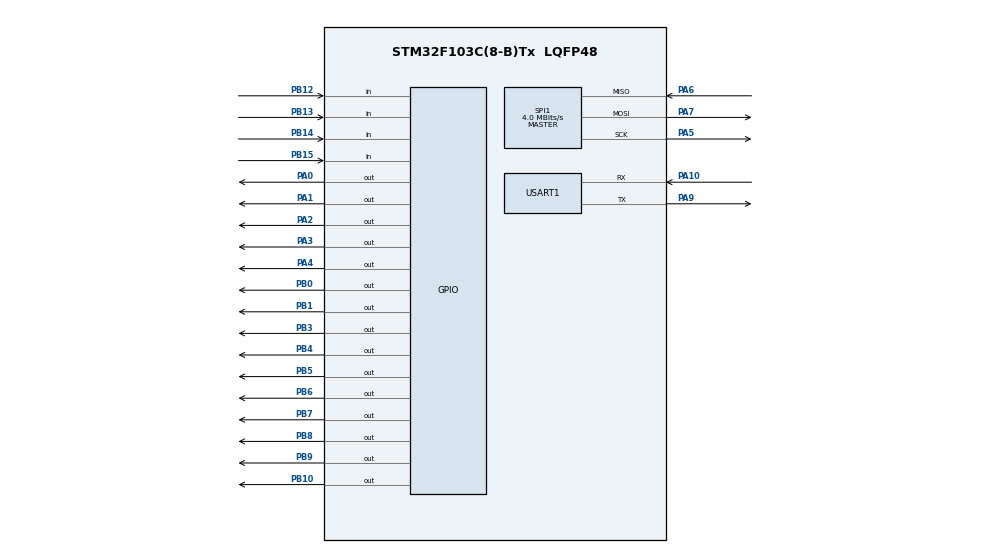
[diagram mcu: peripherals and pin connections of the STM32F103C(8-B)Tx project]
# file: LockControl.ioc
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Mcu.Family=STM32F1
Mcu.Name=STM32F103C(8-B)Tx
Mcu.Package=LQFP48
NVIC.PriorityGroup=NVIC_PRIORITYGROUP_4
PA0-WKUP.Signal=GPIO_Output
PA1.Signal=GPIO_Output
PA10.Mode=Asynchronous
PA10.Signal=USART1_RX
PA13.Mode=Serial_Wire
PA13.Signal=SYS_JTMS-SWDIO
PA14.Mode=Serial_Wire
PA14.Signal=SYS_JTCK-SWCLK
PA2.Signal=GPIO_Output
PA3.Signal=GPIO_Output
PA4.Signal=GPIO_Output
PA5.Mode=Full_Duplex_Master
PA5.Signal=SPI1_SCK
PA6.Mode=Full_Duplex_Master
PA6.Signal=SPI1_MISO
PA7.Mode=Full_Duplex_Master
PA7.Signal=SPI1_MOSI
PA9.Mode=Asynchronous
PA9.Signal=USART1_TX
PB0.Signal=GPIO_Output
PB1.Signal=GPIO_Output
PB10.Signal=GPIO_Output
PB12.GPIO_PuPd=GPIO_PULLUP
PB12.Signal=GPIO_Input
PB13.GPIO_PuPd=GPIO_PULLUP
PB13.Signal=GPIO_Input
PB14.GPIO_PuPd=GPIO_PULLUP
PB14.Signal=GPIO_Input
PB15.GPIO_PuPd=GPIO_PULLUP
PB15.Signal=GPIO_Input
PB3.Signal=GPIO_Output
PB4.Signal=GPIO_Output
PB5.Signal=GPIO_Output
PB6.Signal=GPIO_Output
PB7.Signal=GPIO_Output
PB8.Signal=GPIO_Output
PB9.Signal=GPIO_Output
PD0-OSC_IN.Mode=HSE-External-Oscillator
PD0-OSC_IN.Signal=RCC_OSC_IN
PD1-OSC_OUT.Mode=HSE-External-Oscillator
PD1-OSC_OUT.Signal=RCC_OSC_OUT
ProjectManager.HeapSize=0x200
ProjectManager.StackSize=0x400
ProjectManager.TargetToolchain=MDK-ARM V5.32
RCC.APB1Freq_Value=8000000
RCC.APB2Freq_Value=8000000
RCC.SYSCLKSource=RCC_SYSCLKSOURCE_HSE
SPI1.CalculateBaudRate=4.0 MBits/s
SPI1.Direction=SPI_DIRECTION_2LINES
SPI1.Mode=SPI_MODE_MASTER
SPI1.VirtualType=VM_MASTER
USART1.VirtualMode=VM_ASYNC
board=custom

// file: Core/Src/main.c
/* USER CODE BEGIN Header */
/**
  ******************************************************************************
  * @file           : main.c
  * @brief          : Main program body
  ******************************************************************************
  * @attention
  *
  * Copyright (c) 2024 STMicroelectronics.
  * All rights reserved.
  *
  * This software is licensed under terms that can be found in the LICENSE file
  * in the root directory of this software component.
  * If no LICENSE file comes with this software, it is provided AS-IS.
  *
  ******************************************************************************
  */
/* USER CODE END Header */
#include "main.h"

/* USER CODE BEGIN Includes */
#include "LCD.h"
#include "rc522.h"
#include "string.h"
#include "KeyPad_4x4.h"
#include "stdlib.h"
/* USER CODE END Includes */

/* USER CODE BEGIN PD */
/* Define port */
#define DOOR_PORT		GPIOB
#define BUZZER_PORT	GPIOB
/* Define pin */
#define DOOR_PIN		GPIO_PIN_1
#define BUZZER_PIN	GPIO_PIN_3
/* USER CODE END PD */

SPI_HandleTypeDef hspi1;

UART_HandleTypeDef huart1;

void SystemClock_Config(void);
static void MX_GPIO_Init(void);
static void MX_SPI1_Init(void);
static void MX_USART1_UART_Init(void);

/* USER CODE BEGIN 0 */
uint8_t state_system = 0;
char password_chr[20] = "12345678";
uint8_t password_int = 0;
uint8_t password;

LCD1602_4bit_t LCD1;

uint8_t status;
uint8_t str[MAX_LEN]; // Max_LEN = 16

KeyPad_4x4_t keypad;
uint8_t count;
/* USER CODE END 0 */

int main(void)
{

  /* MCU Configuration--------------------------------------------------------*/

  /* Reset of all peripherals, Initializes the Flash interface and the Systick. */
  HAL_Init();

  /* Configure the system clock */
  SystemClock_Config();

  /* Initialize all configured peripherals */
  MX_GPIO_Init();
  MX_SPI1_Init();
  MX_USART1_UART_Init();
  /* USER CODE BEGIN 2 */
	HAL_GPIO_WritePin(DOOR_PORT, DOOR_PIN, GPIO_PIN_SET);

	MFRC522_Init();

	LCD1.initLCD = LCD_init();
	LCD1.gotoXY = LCD_Goto_XY(0,0);

	int temp = atoi(password_chr);
	for(uint8_t i = 0; i < strlen(password_chr); i++)
	{
		password_int = password_int + temp % 10;
		temp = temp / 10;
	}

  /* USER CODE END 2 */

  /* Infinite loop */
  while (1)
  {

    /* USER CODE BEGIN 3 */

		switch (state_system)
		{
			// Wait to read card
			case 0:
				LCD1.gotoXY = LCD_Goto_XY(0,0);
				LCD1.print = LCD_print((uint8_t*)"Pass your card!");
				status = MFRC522_Request(PICC_REQIDL, str);
				status = MFRC522_Anticoll(str);

				// If card isn't read, wait until it is read
				if(((str[0]==0x70) || (str[0]==0x26) || (str[0]==0x93) || (str[0]==0xB3) || (str[0]==0x03)) && (str[1]==0x20) && (str[2]==0x00) && (str[3]==0x00) && (str[4]==0x00))
				{
					state_system = 0;
				}
				// If read and correct, change to state system 1
				else if((str[0]==0x70) && (str[1]==0xB1) && (str[2]==0x1A) && (str[3]==0x53) && (str[4]==0x88))
				{
					state_system = 1;
					HAL_GPIO_WritePin(BUZZER_PORT, BUZZER_PIN, 1);
					HAL_Delay(25);
					HAL_GPIO_WritePin(BUZZER_PORT, BUZZER_PIN, 0);
				}
				// If read and wrong, change to state system 2
				else
				{
					state_system = 2;
					HAL_GPIO_WritePin(BUZZER_PORT, BUZZER_PIN, 1);
					HAL_Delay(25);
					HAL_GPIO_WritePin(BUZZER_PORT, BUZZER_PIN, 0);
				}

				break;

			// State system 1: Read password
			case 1:
				LCD1.clear = LCD_Clear();
				LCD1.gotoXY = LCD_Goto_XY(0,0);
				LCD1.print = LCD_print((uint8_t*)"Enter password.");

				// Enter password
				count = 0;
				password = 0;
				LCD1.gotoXY = LCD_Goto_XY(count,1);
				while(count < strlen(password_chr))
				{
					keypad.button = readButton();

					if(keypad.button != 16)
					{
						password = password + keypad.button;
						LCD1.print = LCD_print((uint8_t*)"*");
						count++;
						LCD1.gotoXY = LCD_Goto_XY(count,1);
					}
					HAL_Delay(200);
				}

				// Check whether is password corrected
				// If correct, change to state system 3
				if(password == password_int)
				{
					state_system = 3;
					HAL_GPIO_WritePin(BUZZER_PORT, BUZZER_PIN, 1);
					HAL_Delay(25);
					HAL_GPIO_WritePin(BUZZER_PORT, BUZZER_PIN, 0);
				}
				// If wrong, change to state system 4
				else
				{
					state_system = 4;
					HAL_GPIO_WritePin(BUZZER_PORT, BUZZER_PIN, 1);
					HAL_Delay(25);
					HAL_GPIO_WritePin(BUZZER_PORT, BUZZER_PIN, 0);
				}
				break;

			case 2:
				LCD1.clear = LCD_Clear();
				LCD1.gotoXY = LCD_Goto_XY(0,0);
				LCD1.print = LCD_print((uint8_t*)"Wrong card!");
				str[0] = 0x70;
				str[1] = 0x20;
				str[2] = 0x00;
				str[3] = 0x00;
				str[4] = 0x00;
				HAL_Delay(2000);
				state_system = 0;
				break;

			// Pass 2 step (state system 0 & 1) and open the door
			case 3:
				LCD1.clear = LCD_Clear();
				LCD1.gotoXY = LCD_Goto_XY(0,0);
				LCD1.print = LCD_print((uint8_t*)"Hello Nhan!");
				HAL_GPIO_WritePin(DOOR_PORT, DOOR_PIN, GPIO_PIN_RESET);
				state_system = 0;
				HAL_Delay(5000);
				HAL_GPIO_WritePin(DOOR_PORT, DOOR_PIN, GPIO_PIN_SET);
				break;

			case 4:
				LCD1.clear = LCD_Clear();
				LCD1.gotoXY = LCD_Goto_XY(0,0);
				LCD1.print = LCD_print((uint8_t*)"Wrong password!");
				state_system = 1;
				HAL_Delay(2000);
				break;
		}
  }
  /* USER CODE END 3 */
}

void SystemClock_Config(void)
{
  RCC_OscInitTypeDef RCC_OscInitStruct = {0};
  RCC_ClkInitTypeDef RCC_ClkInitStruct = {0};

  /** Initializes the RCC Oscillators according to the specified parameters
  * in the RCC_OscInitTypeDef structure.
  */
  RCC_OscInitStruct.OscillatorType = RCC_OSCILLATORTYPE_HSE;
  RCC_OscInitStruct.HSEState = RCC_HSE_ON;
  RCC_OscInitStruct.PLL.PLLState = RCC_PLL_NONE;
  if (HAL_RCC_OscConfig(&RCC_OscInitStruct) != HAL_OK)
  {
    Error_Handler();
  }

  /** Initializes the CPU, AHB and APB buses clocks
  */
  RCC_ClkInitStruct.ClockType = RCC_CLOCKTYPE_HCLK|RCC_CLOCKTYPE_SYSCLK
                              |RCC_CLOCKTYPE_PCLK1|RCC_CLOCKTYPE_PCLK2;
  RCC_ClkInitStruct.SYSCLKSource = RCC_SYSCLKSOURCE_HSE;
  RCC_ClkInitStruct.AHBCLKDivider = RCC_SYSCLK_DIV1;
  RCC_ClkInitStruct.APB1CLKDivider = RCC_HCLK_DIV1;
  RCC_ClkInitStruct.APB2CLKDivider = RCC_HCLK_DIV1;

  if (HAL_RCC_ClockConfig(&RCC_ClkInitStruct, FLASH_LATENCY_0) != HAL_OK)
  {
    Error_Handler();
  }
}

static void MX_SPI1_Init(void)
{

  /* SPI1 parameter configuration*/
  hspi1.Instance = SPI1;
  hspi1.Init.Mode = SPI_MODE_MASTER;
  hspi1.Init.Direction = SPI_DIRECTION_2LINES;
  hspi1.Init.DataSize = SPI_DATASIZE_8BIT;
  hspi1.Init.CLKPolarity = SPI_POLARITY_LOW;
  hspi1.Init.CLKPhase = SPI_PHASE_1EDGE;
  hspi1.Init.NSS = SPI_NSS_SOFT;
  hspi1.Init.BaudRatePrescaler = SPI_BAUDRATEPRESCALER_2;
  hspi1.Init.FirstBit = SPI_FIRSTBIT_MSB;
  hspi1.Init.TIMode = SPI_TIMODE_DISABLE;
  hspi1.Init.CRCCalculation = SPI_CRCCALCULATION_DISABLE;
  hspi1.Init.CRCPolynomial = 10;
  if (HAL_SPI_Init(&hspi1) != HAL_OK)
  {
    Error_Handler();
  }

}

static void MX_USART1_UART_Init(void)
{

  huart1.Instance = USART1;
  huart1.Init.BaudRate = 115200;
  huart1.Init.WordLength = UART_WORDLENGTH_8B;
  huart1.Init.StopBits = UART_STOPBITS_1;
  huart1.Init.Parity = UART_PARITY_NONE;
  huart1.Init.Mode = UART_MODE_TX_RX;
  huart1.Init.HwFlowCtl = UART_HWCONTROL_NONE;
  huart1.Init.OverSampling = UART_OVERSAMPLING_16;
  if (HAL_UART_Init(&huart1) != HAL_OK)
  {
    Error_Handler();
  }

}

static void MX_GPIO_Init(void)
{
  GPIO_InitTypeDef GPIO_InitStruct = {0};

  /* GPIO Ports Clock Enable */
  __HAL_RCC_GPIOD_CLK_ENABLE();
  __HAL_RCC_GPIOA_CLK_ENABLE();
  __HAL_RCC_GPIOB_CLK_ENABLE();

  /*Configure GPIO pin Output Level */
  HAL_GPIO_WritePin(GPIOA, GPIO_PIN_0|GPIO_PIN_1|GPIO_PIN_2|GPIO_PIN_3
                          |GPIO_PIN_4, GPIO_PIN_RESET);

  /*Configure GPIO pin Output Level */
  HAL_GPIO_WritePin(GPIOB, GPIO_PIN_0|GPIO_PIN_1|GPIO_PIN_10|GPIO_PIN_3
                          |GPIO_PIN_4|GPIO_PIN_5|GPIO_PIN_6|GPIO_PIN_7
                          |GPIO_PIN_8|GPIO_PIN_9, GPIO_PIN_RESET);

  /*Configure GPIO pins : PA0 PA1 PA2 PA3
                           PA4 */
  GPIO_InitStruct.Pin = GPIO_PIN_0|GPIO_PIN_1|GPIO_PIN_2|GPIO_PIN_3
                          |GPIO_PIN_4;
  GPIO_InitStruct.Mode = GPIO_MODE_OUTPUT_PP;
  GPIO_InitStruct.Pull = GPIO_NOPULL;
  GPIO_InitStruct.Speed = GPIO_SPEED_FREQ_LOW;
  HAL_GPIO_Init(GPIOA, &GPIO_InitStruct);

  /*Configure GPIO pins : PB0 PB1 PB10 PB3
                           PB4 PB5 PB6 PB7
                           PB8 PB9 */
  GPIO_InitStruct.Pin = GPIO_PIN_0|GPIO_PIN_1|GPIO_PIN_10|GPIO_PIN_3
                          |GPIO_PIN_4|GPIO_PIN_5|GPIO_PIN_6|GPIO_PIN_7
                          |GPIO_PIN_8|GPIO_PIN_9;
  GPIO_InitStruct.Mode = GPIO_MODE_OUTPUT_PP;
  GPIO_InitStruct.Pull = GPIO_NOPULL;
  GPIO_InitStruct.Speed = GPIO_SPEED_FREQ_LOW;
  HAL_GPIO_Init(GPIOB, &GPIO_InitStruct);

  /*Configure GPIO pins : PB12 PB13 PB14 PB15 */
  GPIO_InitStruct.Pin = GPIO_PIN_12|GPIO_PIN_13|GPIO_PIN_14|GPIO_PIN_15;
  GPIO_InitStruct.Mode = GPIO_MODE_INPUT;
  GPIO_InitStruct.Pull = GPIO_PULLUP;
  HAL_GPIO_Init(GPIOB, &GPIO_InitStruct);

}

void Error_Handler(void)
{
  __disable_irq();
  while (1)
  {
  }
}
